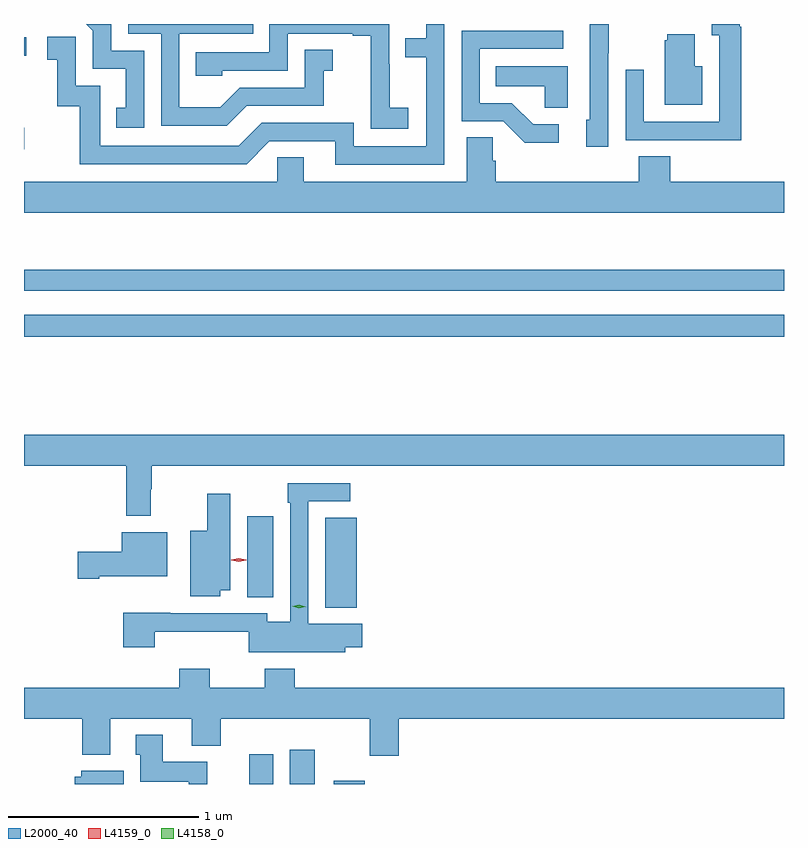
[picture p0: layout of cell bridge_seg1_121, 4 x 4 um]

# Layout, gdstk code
import gdstk
lib = gdstk.Library(unit=1e-6, precision=1e-09)
def R(c, l, rs):  # rectangles x0, y0, x1, y1
    for r in rs: c.add(gdstk.rectangle(r[:2], r[2:], *l))
def P(c, l, *ps):  # polygons
    for p in ps: c.add(gdstk.Polygon(p, *l))
L2000_40 = (2000, 40)
L4158_0 = (4158, 0)
L4159_0 = (4159, 0)

bridge_seg1_121 = lib.new_cell('bridge_seg1_121')
R(bridge_seg1_121, L2000_40, [(262.376,520.753,262.501,520.909), (262.589,520.753,262.72,520.933), (262.82,520.753,262.984,520.77), (262.775,521.681,262.942,522.155), (262.364,521.737,262.501,522.163), (261.19,523.108,265.19,523.224), (261.19,523.35,265.19,523.459), (261.19,524.094,261.192,524.206), (261.19,524.586,261.202,524.682)])
P(bridge_seg1_121, L2000_40, [(263.212,524.311),(263.114,524.311),(263.114,524.54),(263.112,524.54),(263.112,524.753),(262.482,524.753),(262.482,524.604),(262.093,524.604),(262.093,524.481),(262.233,524.481),(262.233,524.508),(262.578,524.508),(262.578,524.703),(262.919,524.703),(262.919,524.691),(263.015,524.691),(263.015,524.407),(263.014,524.407),(263.014,524.201),(263.212,524.201)],
  [(264.264,524.599),(264.267,524.599),(264.267,524.753),(264.168,524.753),(264.168,524.25),(264.149,524.25),(264.149,524.106),(264.264,524.106)],
  [(264.965,524.738),(264.958,524.738),(264.958,524.753),(264.809,524.753),(264.809,524.695),(264.849,524.695),(264.849,524.238),(264.453,524.238),(264.453,524.512),(264.357,524.512),(264.357,524.142),(264.673,524.142),(264.673,524.141),(264.965,524.141)],
  [(262.363,524.322),(262.767,524.322),(262.767,524.507),(262.816,524.507),(262.816,524.617),(262.668,524.617),(262.668,524.418),(262.326,524.418),(262.222,524.314),(262.008,524.314),(262.008,524.703),(262.397,524.703),(262.397,524.753),(261.738,524.753),(261.738,524.703),(261.912,524.703),(261.912,524.217),(262.258,524.217)],
  [(263.403,524.753),(263.307,524.753),(263.307,524.679),(263.197,524.679),(263.197,524.578),(263.307,524.578),(263.307,524.109),(262.926,524.109),(262.926,524.232),(262.44,524.232),(262.32,524.112),(261.591,524.112),(261.591,524.427),(261.462,524.427),(261.462,524.686),(261.312,524.686),(261.312,524.565),(261.365,524.565),(261.365,524.319),(261.483,524.319),(261.483,524.016),(262.362,524.016),(262.482,524.136),(262.829,524.136),(262.829,524.013),(263.403,524.013)],
  [(261.822,524.613),(261.648,524.613),(261.648,524.753),(261.517,524.753),(261.552,524.718),(261.552,524.517),(261.725,524.517),(261.725,524.313),(261.676,524.313),(261.676,524.208),(261.822,524.208)],
  [(264.004,524.226),(263.869,524.226),(263.758,524.337),(263.589,524.337),(263.589,524.622),(264.028,524.622),(264.028,524.718),(263.493,524.718),(263.493,524.241),(263.712,524.241),(263.825,524.129),(264.004,524.129)],
  [(264.76,524.53),(264.721,524.53),(264.721,524.698),(264.575,524.698),(264.575,524.667),(264.563,524.667),(264.563,524.327),(264.76,524.327)],
  [(264.052,524.53),(263.674,524.53),(263.674,524.426),(263.931,524.426),(263.931,524.311),(264.052,524.311)],
  [(265.19,523.924),(264.59,523.924),(264.59,524.057),(264.425,524.057),(264.425,523.924),(263.672,523.924),(263.672,524.033),(263.658,524.033),(263.658,524.156),(263.519,524.156),(263.519,523.924),(262.663,523.924),(262.663,524.051),(262.524,524.051),(262.524,523.924),(261.19,523.924),(261.19,523.76),(265.19,523.76)],
  [(261.856,522.305),(261.863,522.305),(261.863,522.428),(265.19,522.428),(265.19,522.592),(261.19,522.592),(261.19,522.428),(261.727,522.428),(261.727,522.165),(261.856,522.165)],
  [(262.881,521.474),(262.969,521.474),(262.969,521.596),(262.686,521.596),(262.686,522.24),(262.906,522.24),(262.906,522.336),(262.578,522.336),(262.578,522.233),(262.59,522.233),(262.59,521.608),(262.47,521.608),(262.47,521.652),(261.961,521.652),(261.961,521.654),(261.713,521.654),(261.713,521.472),(261.878,521.472),(261.878,521.555),(262.374,521.555),(262.374,521.447),(262.881,521.447)],
  [(262.222,521.774),(262.276,521.774),(262.276,522.28),(262.154,522.28),(262.154,522.085),(262.064,522.085),(262.064,521.741),(262.222,521.741)],
  [(261.586,521.846),(261.943,521.846),(261.943,522.079),(261.704,522.079),(261.704,521.976),(261.474,521.976),(261.474,521.834),(261.586,521.834)],
  [(263.162,521.096),(265.19,521.096),(265.19,521.26),(262.616,521.26),(262.616,521.359),(262.456,521.359),(262.456,521.26),(262.167,521.26),(262.167,521.359),(262.007,521.359),(262.007,521.26),(261.19,521.26),(261.19,521.096),(261.496,521.096),(261.496,520.907),(261.643,520.907),(261.643,521.096),(262.073,521.096),(262.073,520.955),(262.226,520.955),(262.226,521.096),(263.009,521.096),(263.009,520.902),(263.162,520.902)],
  [(262.155,520.87),(261.919,520.87),(261.919,521.011),(261.779,521.011),(261.779,520.908),(261.803,520.908),(261.803,520.766),(262.056,520.766),(262.056,520.753),(262.155,520.753)],
  [(261.715,520.822),(261.492,520.822),(261.492,520.791),(261.458,520.791),(261.458,520.753),(261.715,520.753)])
P(bridge_seg1_121, L4158_0, [(262.637,521.677),(262.603,521.688),(262.603,521.688),(262.603,521.688),(262.638,521.697),(262.673,521.686),(262.673,521.686),(262.673,521.686)])
P(bridge_seg1_121, L4159_0, [(262.321,521.922),(262.281,521.931),(262.281,521.932),(262.281,521.932),(262.321,521.942),(262.361,521.932),(262.361,521.932),(262.361,521.931)])

lib.write_gds('bridge_seg1_121.gds')
